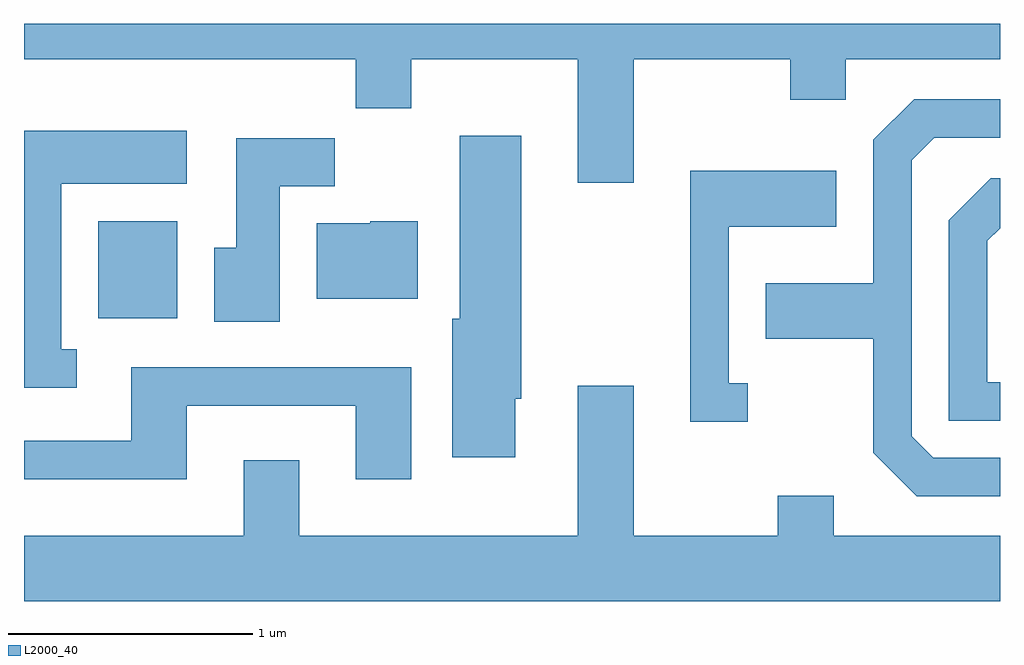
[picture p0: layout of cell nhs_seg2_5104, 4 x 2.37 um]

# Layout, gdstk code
import gdstk
lib = gdstk.Library(unit=1e-6, precision=1e-09)
def R(c, l, rs):  # rectangles x0, y0, x1, y1
    for r in rs: c.add(gdstk.rectangle(r[:2], r[2:], *l))
def P(c, l, *ps):  # polygons
    for p in ps: c.add(gdstk.Polygon(p, *l))
L2000_40 = (2000, 40)

nhs_seg2_5104 = lib.new_cell('nhs_seg2_5104')
R(nhs_seg2_5104, L2000_40, [(335.916,1040.596,336.239,1040.994)])
P(nhs_seg2_5104, L2000_40, [(338.109,1041.656),(338.751,1041.656),(338.751,1041.491),(338.979,1041.491),(338.979,1041.656),(339.611,1041.656),(339.611,1041.802),(335.611,1041.802),(335.611,1041.656),(336.971,1041.656),(336.971,1041.456),(337.199,1041.456),(337.199,1041.656),(337.881,1041.656),(337.881,1041.151),(338.109,1041.151)],
  [(339.611,1040.024),(339.337,1040.024),(339.249,1040.112),(339.249,1041.244),(339.342,1041.336),(339.611,1041.336),(339.611,1041.494),(339.259,1041.494),(339.091,1041.327),(339.091,1040.739),(338.651,1040.739),(338.651,1040.511),(339.091,1040.511),(339.091,1040.044),(339.269,1039.866),(339.611,1039.866)],
  [(335.828,1040.469),(335.764,1040.469),(335.764,1041.146),(336.279,1041.146),(336.279,1041.364),(335.611,1041.364),(335.611,1040.311),(335.828,1040.311)],
  [(337.624,1040.266),(337.649,1040.266),(337.649,1041.344),(337.396,1041.344),(337.396,1040.594),(337.366,1040.594),(337.366,1040.026),(337.624,1040.026)],
  [(336.659,1041.136),(336.884,1041.136),(336.884,1041.334),(336.481,1041.334),(336.481,1040.884),(336.391,1040.884),(336.391,1040.581),(336.659,1040.581)],
  [(338.578,1040.329),(338.499,1040.329),(338.499,1040.971),(338.939,1040.971),(338.939,1041.199),(338.341,1041.199),(338.341,1040.171),(338.578,1040.171)],
  [(339.611,1040.334),(339.559,1040.334),(339.559,1040.914),(339.611,1040.965),(339.611,1041.169),(339.574,1041.169),(339.401,1040.997),(339.401,1040.176),(339.611,1040.176)],
  [(337.224,1040.994),(337.03,1040.994),(337.03,1040.984),(336.811,1040.984),(336.811,1040.676),(337.224,1040.676)],
  [(336.279,1040.236),(336.971,1040.236),(336.971,1039.936),(337.199,1039.936),(337.199,1040.394),(336.051,1040.394),(336.051,1040.094),(335.611,1040.094),(335.611,1039.936),(336.279,1039.936)],
  [(339.611,1039.704),(338.929,1039.704),(338.929,1039.869),(338.701,1039.869),(338.701,1039.704),(338.109,1039.704),(338.109,1040.319),(337.881,1040.319),(337.881,1039.704),(336.739,1039.704),(336.739,1040.014),(336.511,1040.014),(336.511,1039.704),(335.611,1039.704),(335.611,1039.436),(339.611,1039.436)])

lib.write_gds('nhs_seg2_5104.gds')
